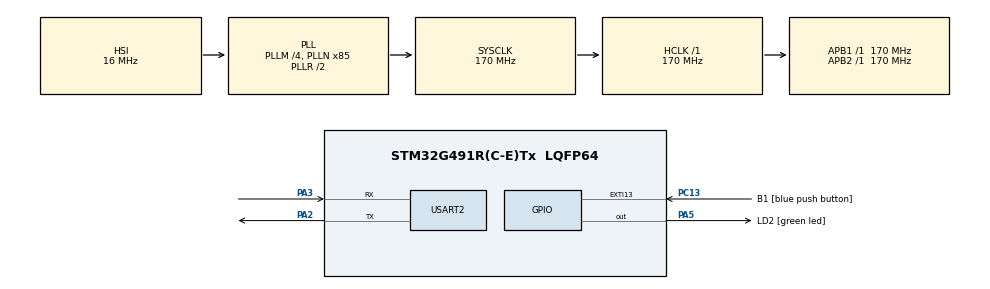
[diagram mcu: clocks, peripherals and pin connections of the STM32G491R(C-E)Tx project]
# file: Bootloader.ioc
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Mcu.Family=STM32G4
Mcu.Name=STM32G491R(C-E)Tx
Mcu.Package=LQFP64
NVIC.EXTI15_10_IRQn=true\:0\:0\:false\:false\:true\:true\:true\:true
NVIC.PriorityGroup=NVIC_PRIORITYGROUP_4
PA13.GPIO_Label=T_SWDIO
PA13.Signal=SYS_JTMS-SWDIO
PA14.GPIO_Label=T_SWCLK
PA14.Signal=SYS_JTCK-SWCLK
PA2.Mode=Asynchronous
PA2.Signal=USART2_TX
PA3.Mode=Asynchronous
PA3.Signal=USART2_RX
PA5.GPIO_Label=LD2 [green led]
PA5.Signal=GPIO_Output
PB3.GPIO_Label=T_SWO
PB3.Signal=SYS_JTDO-SWO
PC13.GPIO_Label=B1 [blue push button]
PC13.Signal=GPXTI13
PC14-OSC32_IN.Signal=RCC_OSC32_IN
PC15-OSC32_OUT.Signal=RCC_OSC32_OUT
PF0-OSC_IN.Signal=RCC_OSC_IN
PF1-OSC_OUT.Signal=RCC_OSC_OUT
ProjectManager.HeapSize=0x200
ProjectManager.StackSize=0x400
ProjectManager.TargetToolchain=STM32CubeIDE
RCC.ADC12Freq_Value=170000000
RCC.ADC345Freq_Value=170000000
RCC.AHBFreq_Value=170000000
RCC.APB1Freq_Value=170000000
RCC.APB1TimFreq_Value=170000000
RCC.APB2Freq_Value=170000000
RCC.APB2TimFreq_Value=170000000
RCC.CortexFreq_Value=170000000
RCC.EXTERNAL_CLOCK_VALUE=12288000
RCC.HCLKFreq_Value=170000000
RCC.HSE_VALUE=24000000
RCC.HSI48_VALUE=48000000
RCC.HSI_VALUE=16000000
RCC.LSE_VALUE=32768
RCC.PLLM=RCC_PLLM_DIV4
RCC.PLLN=85
RCC.RTCClockSelection=RCC_RTCCLKSOURCE_LSE
RCC.SYSCLKFreq_VALUE=170000000
RCC.SYSCLKSource=RCC_SYSCLKSOURCE_PLLCLK
RCC.USBFreq_Value=48000000
RCC.VCOOutputFreq_Value=340000000
USART2.VirtualMode-Asynchronous=VM_ASYNC
VP_CRC_VS_CRC.Mode=CRC_Activate
VP_SYS_VS_DBSignals.Mode=DisableDeadBatterySignals
board=NUCLEO-G491RE

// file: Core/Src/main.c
/* USER CODE BEGIN Header */
/**
  ******************************************************************************
  * @file           : main.c
  * @brief          : Main program body
  ******************************************************************************
  * @attention
  *
  * Copyright (c) 2024 STMicroelectronics.
  * All rights reserved.
  *
  * This software is licensed under terms that can be found in the LICENSE file
  * in the root directory of this software component.
  * If no LICENSE file comes with this software, it is provided AS-IS.
  *
  ******************************************************************************
  */
/* USER CODE END Header */
#include "main.h"
#include <stdarg.h>
#include <string.h>

/* USER CODE BEGIN PD */
#define FLASH_SECTOR2_BASE_ADDRESS 0x08008000
#define USER_VECT_TAB_ADDRESS

 #define BL_RX_LEN  200
 uint8_t bl_rx_buffer[BL_RX_LEN];

#define C_UART &huart2

/* USER CODE END PD */

CRC_HandleTypeDef hcrc;

UART_HandleTypeDef huart2;

void SystemClock_Config(void);
static void MX_GPIO_Init(void);
static void MX_USART2_UART_Init(void);
static void MX_CRC_Init(void);

/* USER CODE BEGIN 0 */
void  printf_uart(const char *format, ...)
{
    char buffer[256];
    va_list args;

    va_start(args, format);
    vsnprintf(buffer, sizeof(buffer), format, args);
    va_end(args);

    HAL_UART_Transmit(&huart2, (uint8_t*)buffer, strlen(buffer), HAL_MAX_DELAY);
}

void bootloader_jump_to_user_app()
{
  void (*app_reset_handler) (void);
  // printf_uart("BL_DEBUG_MSG: Jumping to user app\r\n");

  uint32_t msp_value = *(volatile uint32_t *)FLASH_SECTOR2_BASE_ADDRESS;
  // printf_uart("BL_DEBUG_MSG: MSP value: %x\r\n", msp_value);

  __set_MSP(msp_value);

  app_reset_handler = (void (*)(void)) *(volatile uint32_t *)(FLASH_SECTOR2_BASE_ADDRESS + 4);
  // printf_uart("BL_DEBUG_MSG: App reset handler: %x\r\n", app_reset_handler);

  uint32_t current_tick = HAL_GetTick();
  while (HAL_GetTick() <= (current_tick+1000));
  app_reset_handler();

}
/* USER CODE END 0 */

int main(void)
{

  /* MCU Configuration--------------------------------------------------------*/

  /* Reset of all peripherals, Initializes the Flash interface and the Systick. */
  HAL_Init();

  /* Configure the system clock */
  SystemClock_Config();

  /* Initialize all configured peripherals */
  MX_GPIO_Init();
  MX_USART2_UART_Init();
  MX_CRC_Init();

  /* Infinite loop */
  /* USER CODE BEGIN WHILE */
       uint32_t button_state = HAL_GPIO_ReadPin(B1_GPIO_Port, B1_Pin);

    if (button_state == GPIO_PIN_SET)
    {
        // printf_uart("Button is pressed.......Going to BL mode\r\n");
        bootloader_jump_to_user_app();
    }
    else
    {
        // printf_uart("Button is not pressed.......Executing user app\r\n");
        bootloader_uart_read_data();
    }

  while (1)
  {
    /* USER CODE END WHILE */

  }
}

void SystemClock_Config(void)
{
  RCC_OscInitTypeDef RCC_OscInitStruct = {0};
  RCC_ClkInitTypeDef RCC_ClkInitStruct = {0};

  /** Configure the main internal regulator output voltage
  */
  HAL_PWREx_ControlVoltageScaling(PWR_REGULATOR_VOLTAGE_SCALE1_BOOST);

  /** Initializes the RCC Oscillators according to the specified parameters
  * in the RCC_OscInitTypeDef structure.
  */
  RCC_OscInitStruct.OscillatorType = RCC_OSCILLATORTYPE_HSI;
  RCC_OscInitStruct.HSIState = RCC_HSI_ON;
  RCC_OscInitStruct.HSICalibrationValue = RCC_HSICALIBRATION_DEFAULT;
  RCC_OscInitStruct.PLL.PLLState = RCC_PLL_ON;
  RCC_OscInitStruct.PLL.PLLSource = RCC_PLLSOURCE_HSI;
  RCC_OscInitStruct.PLL.PLLM = RCC_PLLM_DIV4;
  RCC_OscInitStruct.PLL.PLLN = 85;
  RCC_OscInitStruct.PLL.PLLP = RCC_PLLP_DIV2;
  RCC_OscInitStruct.PLL.PLLQ = RCC_PLLQ_DIV2;
  RCC_OscInitStruct.PLL.PLLR = RCC_PLLR_DIV2;
  if (HAL_RCC_OscConfig(&RCC_OscInitStruct) != HAL_OK)
  {
    Error_Handler();
  }

  /** Initializes the CPU, AHB and APB buses clocks
  */
  RCC_ClkInitStruct.ClockType = RCC_CLOCKTYPE_HCLK|RCC_CLOCKTYPE_SYSCLK
                              |RCC_CLOCKTYPE_PCLK1|RCC_CLOCKTYPE_PCLK2;
  RCC_ClkInitStruct.SYSCLKSource = RCC_SYSCLKSOURCE_PLLCLK;
  RCC_ClkInitStruct.AHBCLKDivider = RCC_SYSCLK_DIV1;
  RCC_ClkInitStruct.APB1CLKDivider = RCC_HCLK_DIV1;
  RCC_ClkInitStruct.APB2CLKDivider = RCC_HCLK_DIV1;

  if (HAL_RCC_ClockConfig(&RCC_ClkInitStruct, FLASH_LATENCY_4) != HAL_OK)
  {
    Error_Handler();
  }
}

static void MX_CRC_Init(void)
{

  hcrc.Instance = CRC;
  hcrc.Init.DefaultPolynomialUse = DEFAULT_POLYNOMIAL_ENABLE;
  hcrc.Init.DefaultInitValueUse = DEFAULT_INIT_VALUE_ENABLE;
  hcrc.Init.InputDataInversionMode = CRC_INPUTDATA_INVERSION_NONE;
  hcrc.Init.OutputDataInversionMode = CRC_OUTPUTDATA_INVERSION_DISABLE;
  hcrc.InputDataFormat = CRC_INPUTDATA_FORMAT_BYTES;
  if (HAL_CRC_Init(&hcrc) != HAL_OK)
  {
    Error_Handler();
  }

}

static void MX_USART2_UART_Init(void)
{

  huart2.Instance = USART2;
  huart2.Init.BaudRate = 115200;
  huart2.Init.WordLength = UART_WORDLENGTH_8B;
  huart2.Init.StopBits = UART_STOPBITS_1;
  huart2.Init.Parity = UART_PARITY_NONE;
  huart2.Init.Mode = UART_MODE_TX_RX;
  huart2.Init.HwFlowCtl = UART_HWCONTROL_NONE;
  huart2.Init.OverSampling = UART_OVERSAMPLING_16;
  huart2.Init.OneBitSampling = UART_ONE_BIT_SAMPLE_DISABLE;
  huart2.Init.ClockPrescaler = UART_PRESCALER_DIV1;
  huart2.AdvancedInit.AdvFeatureInit = UART_ADVFEATURE_NO_INIT;
  if (HAL_UART_Init(&huart2) != HAL_OK)
  {
    Error_Handler();
  }
  if (HAL_UARTEx_SetTxFifoThreshold(&huart2, UART_TXFIFO_THRESHOLD_1_8) != HAL_OK)
  {
    Error_Handler();
  }
  if (HAL_UARTEx_SetRxFifoThreshold(&huart2, UART_RXFIFO_THRESHOLD_1_8) != HAL_OK)
  {
    Error_Handler();
  }
  if (HAL_UARTEx_DisableFifoMode(&huart2) != HAL_OK)
  {
    Error_Handler();
  }

}

static void MX_GPIO_Init(void)
{
  GPIO_InitTypeDef GPIO_InitStruct = {0};

  /* GPIO Ports Clock Enable */
  __HAL_RCC_GPIOC_CLK_ENABLE();
  __HAL_RCC_GPIOF_CLK_ENABLE();
  __HAL_RCC_GPIOA_CLK_ENABLE();
  __HAL_RCC_GPIOB_CLK_ENABLE();

  /*Configure GPIO pin Output Level */
  HAL_GPIO_WritePin(LD2_GPIO_Port, LD2_Pin, GPIO_PIN_RESET);

  /*Configure GPIO pin : B1_Pin */
  GPIO_InitStruct.Pin = B1_Pin;
  GPIO_InitStruct.Mode = GPIO_MODE_IT_RISING;
  GPIO_InitStruct.Pull = GPIO_NOPULL;
  HAL_GPIO_Init(B1_GPIO_Port, &GPIO_InitStruct);

  /*Configure GPIO pin : LD2_Pin */
  GPIO_InitStruct.Pin = LD2_Pin;
  GPIO_InitStruct.Mode = GPIO_MODE_OUTPUT_PP;
  GPIO_InitStruct.Pull = GPIO_NOPULL;
  GPIO_InitStruct.Speed = GPIO_SPEED_FREQ_LOW;
  HAL_GPIO_Init(LD2_GPIO_Port, &GPIO_InitStruct);

  /* EXTI interrupt init*/
  HAL_NVIC_SetPriority(EXTI15_10_IRQn, 0, 0);
  HAL_NVIC_EnableIRQ(EXTI15_10_IRQn);

}

void Error_Handler(void)
{
  __disable_irq();
  while (1)
  {
  }
}

void  bootloader_uart_read_data(void)
{
    uint8_t rcv_len=0;

	while(1)
	{
		memset(bl_rx_buffer,0,200);
		//here we will read and decode the commands coming from host
		//first read only one byte from the host , which is the "length" field of the command packet
    HAL_UART_Receive(C_UART,bl_rx_buffer,1,HAL_MAX_DELAY);
		rcv_len= bl_rx_buffer[0];
		HAL_UART_Receive(C_UART,&bl_rx_buffer[1],rcv_len,HAL_MAX_DELAY);
    // printf_uart("BL_DEBUG_MSG:bootloader_uart_read_data \n");
    // printf_uart("BL_DEBUG_MSG: RX BUFFER: ");
    for(int i=0;i<rcv_len+1;i++)
    {
        // printf_uart("%x ",bl_rx_buffer[i]);
    }
    // printf_uart("\r\n");
		switch(bl_rx_buffer[1])
		{
            case BL_GET_VER:
                bootloader_handle_getver_cmd(bl_rx_buffer);
                break;
           case BL_GET_RDP_STATUS:
               bootloader_handle_getrdp_cmd(bl_rx_buffer);
               break;
           case BL_GO_TO_ADDR:
               bootloader_handle_go_cmd(bl_rx_buffer);
               break;
           case BL_FLASH_ERASE:
               bootloader_handle_flash_erase_cmd(bl_rx_buffer);
               break;
           case BL_MEM_WRITE:
               bootloader_handle_mem_write_cmd(bl_rx_buffer);
               break;

           default:
               // printf_uart("BL_DEBUG_MSG:Invalid command code received from host \n");
               break;
		}

	}

}

/*Helper function to handle BL_GET_VER command */
void bootloader_handle_getver_cmd(uint8_t *bl_rx_buffer)
{
    uint8_t bl_version;

    // 1) verify the checksum
    // printf_uart("BL_DEBUG_MSG:bootloader_handle_getver_cmd\n");

	 //Total length of the command packet
	  uint32_t command_packet_len = bl_rx_buffer[0]+1 ;

	  //extract the CRC32 sent by the Host
	  uint32_t host_crc = *((uint32_t * ) (bl_rx_buffer+command_packet_len - 4) );

    if (! bootloader_verify_crc(&bl_rx_buffer[0],command_packet_len-4,host_crc))
    {
        // printf_uart("BL_DEBUG_MSG:checksum success !!\n");
        // checksum is correct..
        bootloader_send_ack(bl_rx_buffer[0],1);
        bl_version=get_bootloader_version();
       // // printf_uart("BL_DEBUG_MSG:BL_VER : %d %#x\n",bl_version,bl_version);
        bootloader_uart_write_data(&bl_version,1);

    }else
    {
       // printf_uart("BL_DEBUG_MSG:checksum fail !!\n");
       //checksum is wrong send nack
       bootloader_send_nack();
    }
}

/* This function writes data in to C_UART */
void bootloader_uart_write_data(uint8_t *pBuffer,uint32_t len)
{
    /*you can replace the below ST's USART driver API call with your MCUs driver API call */
	HAL_UART_Transmit(C_UART,pBuffer,len,HAL_MAX_DELAY);

}

uint8_t get_bootloader_version(void)
{
  return BL_VERSION;
}

/*This function sends ACK if CRC matches along with "len to follow"*/
void bootloader_send_ack(uint8_t command_code, uint8_t follow_len)
{
	 //here we send 2 byte.. first byte is ack and the second byte is len value
	uint8_t ack_buf[2];
	ack_buf[0] = BL_ACK;
	ack_buf[1] = follow_len;
	HAL_UART_Transmit(C_UART,ack_buf,2,HAL_MAX_DELAY);

}
/*This function sends NACK */
void bootloader_send_nack(void)
{
	uint8_t nack = BL_NACK;
	HAL_UART_Transmit(C_UART,&nack,1,HAL_MAX_DELAY);
}
uint8_t bootloader_verify_crc (uint8_t *pData, uint32_t len, uint32_t crc_host)
{
    uint32_t uwCRCValue = calculate_crc(pData, len);

    if (uwCRCValue == crc_host)
    {
        return VERIFY_CRC_SUCCESS;
    }
    return VERIFY_CRC_FAIL;
}
uint32_t calculate_crc(uint8_t* pData, uint32_t len)
{
    uint32_t crc = 0xFFFFFFFF;

    for (uint32_t i = 0; i < len; i++)
    {
        uint32_t data = pData[i];
        crc = crc ^ data;
        for (uint32_t j = 0; j < 32; j++)
        {
            if (crc & 0x80000000)
            {
                crc = (crc << 1) ^ 0x04C11DB7;
            }
            else
            {
                crc = (crc << 1);
            }
        }
    }

    return crc;
}

/*Helper function to handle BL_GET_RDP_STATUS command */
void bootloader_handle_getrdp_cmd(uint8_t *pBuffer)
{
    uint8_t rdp_level = 0x00;
   // printmsg("BL_DEBUG_MSG:bootloader_handle_getrdp_cmd\n");

    //Total length of the command packet
	uint32_t command_packet_len = bl_rx_buffer[0]+1 ;

	//extract the CRC32 sent by the Host
	uint32_t host_crc = *((uint32_t * ) (bl_rx_buffer+command_packet_len - 4) ) ;

	if (! bootloader_verify_crc(&bl_rx_buffer[0],command_packet_len-4,host_crc))
	{
       // printmsg("BL_DEBUG_MSG:checksum success !!\n");
        bootloader_send_ack(pBuffer[0],1);
        rdp_level = get_flash_rdp_level();
       // printmsg("BL_DEBUG_MSG:RDP level: %d %#x\n",rdp_level,rdp_level);
        bootloader_uart_write_data(&rdp_level,1);

	}else
	{
       // printmsg("BL_DEBUG_MSG:checksum fail !!\n");
        bootloader_send_nack();
	}

}

/*This function reads the RDP ( Read protection option byte) value
 *For more info refer "Table 9. Description of the option bytes" in stm32f446xx RM
 */
uint8_t get_flash_rdp_level(void)
{

	uint8_t rdp_status=0;
	FLASH_OBProgramInitTypeDef  ob_handle;
	HAL_FLASHEx_OBGetConfig(&ob_handle);
	rdp_status = (uint8_t)ob_handle.RDPLevel;

	return rdp_status;
}

/*Helper function to handle BL_FLASH_ERASE command */
void bootloader_handle_flash_erase_cmd(uint8_t *pBuffer)
{
    uint8_t erase_status = 0x00;

    //Total length of the command packet
	uint32_t command_packet_len = bl_rx_buffer[0]+1 ;

	//extract the CRC32 sent by the Host
	uint32_t host_crc = *((uint32_t * ) (bl_rx_buffer+command_packet_len - 4) ) ;

	if (! bootloader_verify_crc(&bl_rx_buffer[0],command_packet_len-4,host_crc))
	{

        bootloader_send_ack(pBuffer[0],1);

        HAL_GPIO_WritePin(LD2_GPIO_Port, LD2_Pin,1);
        erase_status = execute_flash_erase(pBuffer[2] , pBuffer[3]);
        HAL_GPIO_WritePin(LD2_GPIO_Port, LD2_Pin,0);

        bootloader_uart_write_data(&erase_status,1);

	}else
	{
        bootloader_send_nack();
	}
}

 uint8_t execute_flash_erase(uint8_t sector_number , uint8_t number_of_sector)
{
	FLASH_EraseInitTypeDef flashErase_handle;
	uint32_t sectorError;
	HAL_StatusTypeDef status;

	if( number_of_sector > 8 )
		return INVALID_SECTOR;

if (sector_number == (uint8_t) 0xff) {
    flashErase_handle.TypeErase = FLASH_TYPEERASE_MASSERASE;
} else {
    /* Calculate the pages to erase based on the sector size and page size */
    uint32_t sector_size = 16 * 1024; // 16 KB sector size
    uint32_t page_size = 2 * 1024; // 2 KB page size
    uint32_t pages_per_sector = sector_size / page_size;
    uint32_t initial_page = sector_number * pages_per_sector;
    uint32_t number_of_pages = number_of_sector * pages_per_sector;

    flashErase_handle.TypeErase = TYPEERASE_PAGES;
    flashErase_handle.Page = initial_page;
    flashErase_handle.NbPages = number_of_pages;
}
flashErase_handle.Banks = FLASH_BANK_1;

/* Get access to touch the flash registers */
HAL_FLASH_Unlock();
status = (uint8_t) HAL_FLASHEx_Erase(&flashErase_handle, &sectorError);
HAL_FLASH_Lock();

return status;
}

/*Helper function to handle BL_MEM_WRITE command */
void bootloader_handle_mem_write_cmd(uint8_t *pBuffer)
{
	uint8_t addr_valid = ADDR_VALID;
	uint8_t write_status = 0x00;
	uint8_t chksum =0, len=0;
	len = pBuffer[0];
	uint8_t payload_len = pBuffer[6];

	uint32_t mem_address = *((uint32_t *) ( &pBuffer[2]) );
	chksum = pBuffer[len];
    //Total length of the command packet
	uint32_t command_packet_len = bl_rx_buffer[0]+1 ;
	//extract the CRC32 sent by the Host
	uint32_t host_crc = *((uint32_t * ) (bl_rx_buffer+command_packet_len - 4) ) ;
	if (! bootloader_verify_crc(&bl_rx_buffer[0],command_packet_len-4,host_crc))
	{
        bootloader_send_ack(pBuffer[0],1);
		if( verify_address(mem_address) == ADDR_VALID )
		{
            //glow the led to indicate bootloader is currently writing to memory
            HAL_GPIO_WritePin(LD2_GPIO_Port, LD2_Pin, GPIO_PIN_SET);
            //execute mem write
            write_status = execute_mem_write(&pBuffer[7],mem_address, payload_len);
            //turn off the led to indicate memory write is over
            HAL_GPIO_WritePin(LD2_GPIO_Port, LD2_Pin, GPIO_PIN_RESET);
            //inform host about the status
            bootloader_uart_write_data(&write_status,1);
		}else
		{
            write_status = ADDR_INVALID;
            //inform host that address is invalid
            bootloader_uart_write_data(&write_status,1);
		}
	}else
	{
        bootloader_send_nack();
	}
}

/*This function writes the contents of pBuffer to  "mem_address" byte by byte */
//Note1 : Currently this function supports writing to Flash only .
//Note2 : This functions does not check whether "mem_address" is a valid address of the flash range.
uint8_t execute_mem_write(uint8_t *pBuffer, uint32_t mem_address, uint32_t len)
{
    uint8_t status = HAL_OK;
    __disable_irq();
    /* Check if the length is a multiple of 8 bytes (64 bits) */
    if (len % 8 != 0) {
        /* Handle error: length is not a multiple of 8 bytes */
        status = HAL_ERROR;
        goto exit;
    }

    /* Calculate the number of double-words to write */
    uint32_t num_double_words = len / 8;

    /* Unlock the flash memory */
    HAL_FLASH_Unlock();

    /* Write the data in double-words */
    for (uint32_t i = 0; i < num_double_words; i++) {
        uint64_t data;

        /* Safely copy 64 bits from the buffer into the 'data' variable */
        memcpy(&data, pBuffer + (i * 8), sizeof(uint64_t));

        /* Use the FLASH_TYPEPROGRAM_DOUBLEWORD macro to program a double-word */
        status = HAL_FLASH_Program(FLASH_TYPEPROGRAM_DOUBLEWORD, mem_address + (i * 8), data);

        if (status != HAL_OK) {
            /* Handle error: flash programming failed */
            HAL_FLASH_Lock();
            goto exit;
        }
    }

exit:
    /* Lock the flash memory */
    HAL_FLASH_Lock();
    __enable_irq();

    return status;
}

void bootloader_handle_go_cmd(uint8_t *pBuffer)
{
    uint32_t go_address = 0;
    uint8_t addr_valid = ADDR_VALID;
    uint8_t addr_invalid = ADDR_INVALID;

    // Total length of the command packet
    uint32_t command_packet_len = bl_rx_buffer[0] + 1;

    // Extract the CRC32 sent by the Host
    uint32_t host_crc = *((uint32_t *)(bl_rx_buffer + command_packet_len - 4));

    if (!bootloader_verify_crc(&bl_rx_buffer[0], command_packet_len - 4, host_crc)) {
        bootloader_send_ack(pBuffer[0], 1);

        // Extract the go address from the packet
        go_address = *((uint32_t *)&pBuffer[2]);

        // Ensure the address is valid
        if (verify_address(go_address) == ADDR_VALID) {
            // Tell host that address is valid
            bootloader_uart_write_data(&addr_valid, 1);

            // Align the address to a 4-byte boundary
            go_address &= ~0x03;  // Ensure 4-byte alignment

            // Make T-bit = 1 (Thumb mode)
            //go_address += 1;

            // Get the stack pointer and reset vector from the application vector table
            uint32_t stack_pointer = *((uint32_t *)go_address);  // Read the first word (stack pointer)
            uint32_t reset_vector = *((uint32_t *)(go_address + 4)); // Read the reset vector

            // Set the stack pointer
            __set_MSP(stack_pointer);  // Set the main stack pointer to the application's stack pointer

            // Jump to the reset vector (entry point)
            void (*app_reset)(void) = (void *)reset_vector;
            app_reset();  // Call the reset vector to jump to the new firmware

        } else {
            // Tell host that address is invalid
            bootloader_uart_write_data(&addr_invalid, 1);
        }
    } else {
        bootloader_send_nack();
    }
}

//verify the address sent by the host .
uint8_t verify_address(uint32_t go_address)
{
	//so, what are the valid addresses to which we can jump ?
	//can we jump to system memory ? yes
	//can we jump to sram1 memory ?  yes
	//can we jump to sram2 memory ? yes
	//can we jump to backup sram memory ? yes
	//can we jump to peripheral memory ? its possible , but dont allow. so no
	//can we jump to external memory ? yes.

//incomplete -poorly written .. optimize it
	if ( go_address >= SRAM1_BASE && go_address <= SRAM1_END)
	{
		return ADDR_VALID;
	}
	else if ( go_address >= SRAM2_BASE && go_address <= SRAM2_END)
	{
		return ADDR_VALID;
	}
	else if ( go_address >= FLASH_BASE && go_address <= FLASH_END)
	{
		return ADDR_VALID;
	}
	else if ( go_address >= BKPSRAM_BASE && go_address <= BKPSRAM_END)
	{
		return ADDR_VALID;
	}
	else
		return ADDR_INVALID;
}
